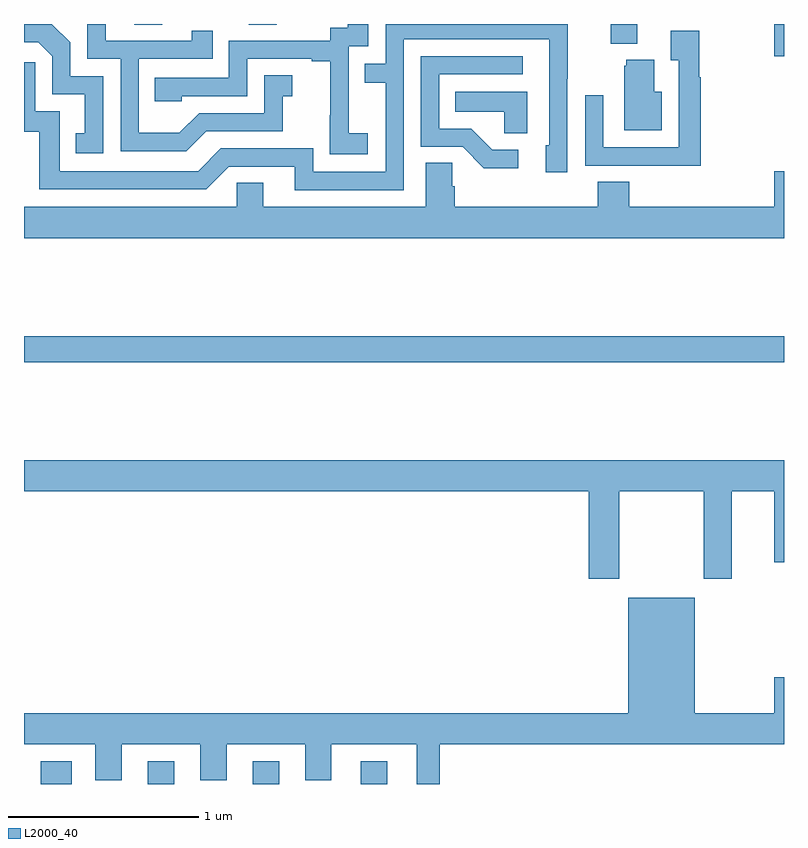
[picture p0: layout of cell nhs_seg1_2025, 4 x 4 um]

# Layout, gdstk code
import gdstk
lib = gdstk.Library(unit=1e-6, precision=1e-09)
def R(c, l, rs):  # rectangles x0, y0, x1, y1
    for r in rs: c.add(gdstk.rectangle(r[:2], r[2:], *l))
def P(c, l, *ps):  # polygons
    for p in ps: c.add(gdstk.Polygon(p, *l))
L2000_40 = (2000, 40)

nhs_seg1_2025 = lib.new_cell('nhs_seg1_2025')
R(nhs_seg1_2025, L2000_40, [(221.087,542.199,221.251,542.32), (221.651,542.199,221.791,542.32), (222.203,542.199,222.343,542.32), (222.773,542.199,222.913,542.32), (221,544.42,225,544.556), (224.948,546.03,225,546.199), (224.087,546.095,224.227,546.199), (221.579,546.196,221.727,546.199), (222.184,546.196,222.331,546.199)])
P(nhs_seg1_2025, L2000_40, [(222.999,546.12),(223.764,546.12),(223.764,545.562),(223.745,545.562),(223.745,545.418),(223.86,545.418),(223.86,545.911),(223.863,545.911),(223.863,546.199),(222.903,546.199),(222.903,545.991),(222.793,545.991),(222.793,545.89),(222.903,545.89),(222.903,545.421),(222.522,545.421),(222.522,545.544),(222.036,545.544),(221.916,545.424),(221.187,545.424),(221.187,545.739),(221.058,545.739),(221.058,545.998),(221,545.998),(221,545.631),(221.079,545.631),(221.079,545.328),(221.958,545.328),(222.078,545.448),(222.425,545.448),(222.425,545.325),(222.999,545.325)],
  [(221.959,545.634),(222.363,545.634),(222.363,545.819),(222.412,545.819),(222.412,545.929),(222.264,545.929),(222.264,545.73),(221.922,545.73),(221.818,545.626),(221.604,545.626),(221.604,546.015),(221.993,546.015),(221.993,546.163),(221.882,546.163),(221.882,546.111),(221.431,546.111),(221.431,546.199),(221.334,546.199),(221.334,546.015),(221.508,546.015),(221.508,545.529),(221.854,545.529)],
  [(221.418,545.925),(221.244,545.925),(221.244,546.102),(221.147,546.199),(221,546.199),(221,546.102),(221.076,546.102),(221.148,546.03),(221.148,545.829),(221.321,545.829),(221.321,545.625),(221.272,545.625),(221.272,545.52),(221.418,545.52)],
  [(222.808,545.623),(222.71,545.623),(222.71,545.852),(222.708,545.852),(222.708,546.081),(222.813,546.081),(222.813,546.199),(222.705,546.199),(222.705,546.18),(222.612,546.18),(222.612,546.111),(222.078,546.111),(222.078,545.916),(221.689,545.916),(221.689,545.793),(221.829,545.793),(221.829,545.82),(222.174,545.82),(222.174,546.015),(222.515,546.015),(222.515,546.003),(222.611,546.003),(222.611,545.719),(222.61,545.719),(222.61,545.513),(222.808,545.513)],
  [(224.561,545.918),(224.554,545.918),(224.554,546.163),(224.405,546.163),(224.405,546.007),(224.445,546.007),(224.445,545.55),(224.049,545.55),(224.049,545.824),(223.953,545.824),(223.953,545.454),(224.269,545.454),(224.269,545.453),(224.561,545.453)],
  [(223.6,545.538),(223.465,545.538),(223.354,545.649),(223.185,545.649),(223.185,545.934),(223.624,545.934),(223.624,546.03),(223.089,546.03),(223.089,545.553),(223.308,545.553),(223.421,545.441),(223.6,545.441)],
  [(224.356,545.842),(224.317,545.842),(224.317,546.01),(224.171,546.01),(224.171,545.979),(224.159,545.979),(224.159,545.639),(224.356,545.639)],
  [(223.648,545.842),(223.27,545.842),(223.27,545.738),(223.527,545.738),(223.527,545.623),(223.648,545.623)],
  [(225,545.425),(224.948,545.425),(224.948,545.236),(224.186,545.236),(224.186,545.369),(224.021,545.369),(224.021,545.236),(223.268,545.236),(223.268,545.345),(223.254,545.345),(223.254,545.468),(223.115,545.468),(223.115,545.236),(222.259,545.236),(222.259,545.363),(222.12,545.363),(222.12,545.236),(221,545.236),(221,545.072),(225,545.072)],
  [(224.133,543.74),(224.578,543.74),(224.578,543.279),(224.725,543.279),(224.725,543.74),(224.948,543.74),(224.948,543.366),(225,543.366),(225,543.904),(221,543.904),(221,543.74),(223.973,543.74),(223.973,543.279),(224.133,543.279)],
  [(223.189,542.408),(225,542.408),(225,542.761),(224.948,542.761),(224.948,542.572),(224.53,542.572),(224.53,543.178),(224.18,543.178),(224.18,542.572),(221,542.572),(221,542.408),(221.375,542.408),(221.375,542.218),(221.515,542.218),(221.515,542.408),(221.927,542.408),(221.927,542.218),(222.067,542.218),(222.067,542.408),(222.479,542.408),(222.479,542.218),(222.618,542.218),(222.618,542.408),(223.067,542.408),(223.067,542.199),(223.189,542.199)])

lib.write_gds('nhs_seg1_2025.gds')
